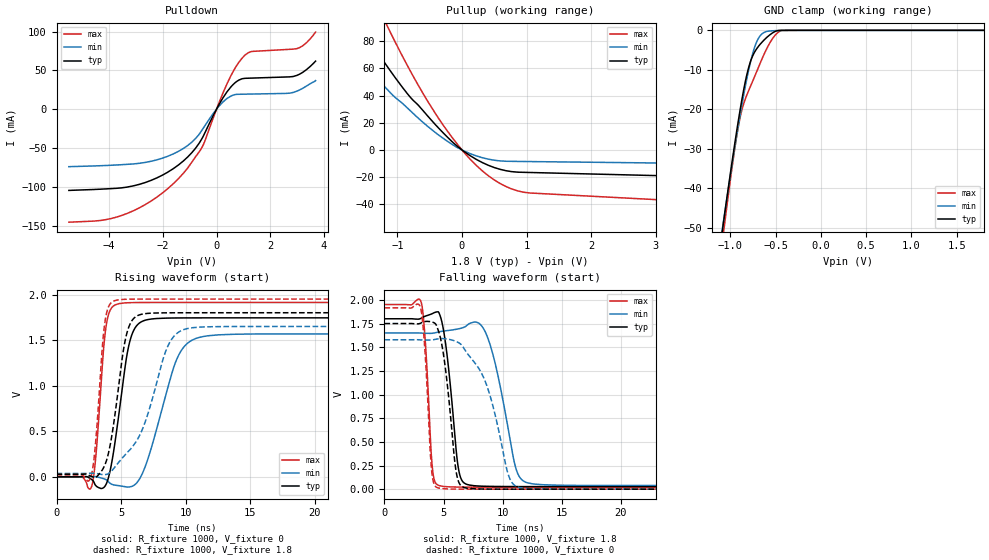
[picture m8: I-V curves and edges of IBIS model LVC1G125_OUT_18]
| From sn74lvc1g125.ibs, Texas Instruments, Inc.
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[Model]   LVC1G125_OUT_18
Model_type  3-state
Enable   Active-Low
Vref =   0
Rref =   1000
Cref =   30p
Vmeas =   0.9
| variable   typ   min   max
C_comp   6.12pF   5.33pF   6.95pF
| C_pullup   9.53pF   6.44pF   11.63pF
| C_pulldown   10.50pF   6.57pF   15.98pF
| C_tri-state   6.12pF   5.33pF   6.95pF
[Temperature Range]   40   100   -40
| Ambient temperature   25   85   -40
[Voltage range]   1.8   1.65   1.95
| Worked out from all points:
|   slope of the pulldown table from 0 to 0.27 V, typ, clamps not added: 16.6 ohm
|   slope of the pullup table from 0 to 0.27 V, typ, clamps not added: 33.1 ohm
|   GND clamp passes 1 mA (typ) near -0.56 V on its own axis
|   rising waveform, R_fixture 1000, V_fixture 0: 20-80 % time 1.04ns typ, 1.88ns min, 595ps max; typ from 0 V to 1.74 V
|   falling waveform, R_fixture 1000, V_fixture 1.8: 20-80 % time 823ps typ, 1.49ns min, 490ps max; typ from 1.8 V to 0.027 V
|   rising waveform, R_fixture 1000, V_fixture 1.8: 20-80 % time 1.05ns typ, 2.3ns min, 592ps max; typ from 0.027 V to 1.8 V
|   falling waveform, R_fixture 1000, V_fixture 0: 20-80 % time 879ps typ, 2.12ns min, 495ps max; typ from 1.75 V to 0 V
[GND Clamp]
| LVC1G125_OUT_18
|   Voltage   I(typ)   I(min)   I(max)
-5.5V     -919.3mA   -858.8mA   -997.3mA
-1.105V   -53.41mA   -52.67mA   -56.49mA
-1.075V   -48.37mA   -48mA      -50.98mA
-1.05V    -44.23mA   -44.16mA   -46.47mA
-915mV    -23.21mA   -24.47mA   -24.73mA
-875mV    -17.74mA   -19.13mA   -20.32mA
-825mV    -11.87mA   -12.99mA   -16.74mA
-735mV    -5.597mA   -4.44mA    -11.83mA
-640mV    -2.73mA    -696.7uA   -6.659mA
-525mV    -513.6uA   -107.6uA   -1.782mA
-425mV    -5.151uA   -35.58uA   -16.05uA
1.8V      20.22pA    26.25nA    581.3pA
[Pulldown]
| LVC1G125_OUT_18
|   Voltage   I(typ)   I(min)   I(max)
-5.5V     -104.6mA   -74.02mA   -145.5mA
-3.745V   -101.9mA   -71.89mA   -139.2mA
-2.02V    -85.05mA   -63.13mA   -108.1mA
-1.225V   -66.4mA    -50.37mA   -82.15mA
-555mV    -38.62mA   -27.71mA   -50.1mA
230mV     14.07mA    9.007mA    20.07mA
615mV     31.62mA    18.09mA    48.22mA
950mV     39.21mA    19.28mA    65.67mA
1.28V     40.01mA    19.49mA    74.11mA
2.855V    42.09mA    21.56mA    77.35mA
3.215V    47.55mA    26.98mA    81.77mA
3.69V     61.89mA    36.79mA    99.31mA
[Pullup]
| LVC1G125_OUT_18
|   Voltage   I(typ)   I(min)   I(max)
-4.015V   298.3mA    224.3mA    426mA
-1.925V   118mA      87.93mA    171.7mA
-1.64V    95.97mA    70.95mA    140.5mA
-1.5V     85.56mA    62.95mA    125.7mA
-1.2V     64.26mA    46.68mA    95.24mA
-1.105V   57.85mA    41.84mA    86.02mA
-755mV    36.44mA    26.81mA    54.15mA
-410mV    18.54mA    12.75mA    26.68mA
35mV      -1.224mA   -792.3uA   -1.956mA
500mV     -12.89mA   -7.509mA   -21.98mA
955mV     -16.39mA   -8.433mA   -31mA
11V       -28.13mA   -13.8mA    -56.37mA
[Ramp]
| LVC1G125_OUT_18
| variable   typ   min   max
dV/dt_r   1.12/1.12E-09   1.01/2.01E-09   1.23/6.41E-10
dV/dt_f   1.11/8.75E-10   1.04/1.65E-09   1.19/5.13E-10
R_load = 1000
[Rising Waveform]
| LVC1G125_OUT_18
R_fixture =   1000
C_fixture =   0
L_fixture =   0
V_fixture =   0
V_fixture_min = 0
V_fixture_max = 0
|   Time   V(typ)   V(min)   V(max)
0s        112.7pV    7.663nV    3.037nV
2.715ns   -28.83mV   3.214mV    -107.5mV
3.05ns    -97.67mV   1.335mV    235.3mV
3.825ns   -85.53mV   -30.44mV   1.638V
4.755ns   607.9mV    -95.54mV   1.897V
5.515ns   1.383V     -112.1mV   1.909V
6.19ns    1.655V     -69.7mV    1.912V
9.33ns    1.743V     1.296V     1.913V
11.08ns   1.744V     1.53V      1.913V
50ns      1.744V     1.569V     1.913V
[Falling Waveform]
| LVC1G125_OUT_18
R_fixture =   1000
C_fixture =   0
L_fixture =   0
V_fixture =   1.8
V_fixture_min = 1.65
V_fixture_max = 1.95
|   Time   V(typ)   V(min)   V(max)
0s        1.8V       1.65V      1.95V
3.115ns   1.807V     1.649V     1.973V
4.045ns   1.854V     1.647V     240.1mV
4.62ns    1.862V     1.662V     38.59mV
6.25ns    227.1mV    1.693V     22.26mV
7ns       49.44mV    1.733V     21.55mV
8.73ns    30.06mV    1.604V     21.16mV
11.08ns   27.49mV    237.2mV    21.11mV
12.08ns   27.23mV    67.78mV    21.1mV
50ns      26.97mV    37.14mV    21.08mV
[Rising Waveform]
| LVC1G125_OUT_18
R_fixture =   1000
C_fixture =   0
L_fixture =   0
V_fixture =   1.8
V_fixture_min = 1.65
V_fixture_max = 1.95
|   Time   V(typ)   V(min)   V(max)
0s        26.95mV    37.1mV     21.07mV
2.645ns   7.905mV    39.96mV    -7.84mV
3ns       -9.678mV   38.71mV    333mV
3.74ns    129.2mV    24.53mV    1.688V
4.58ns    738.9mV    118mV      1.935V
5.27ns    1.462V     234.5mV    1.947V
5.88ns    1.721V     330.2mV    1.949V
8.62ns    1.799V     1.433V     1.95V
10.1ns    1.8V       1.625V     1.95V
50ns      1.8V       1.65V      1.95V
[Falling Waveform]
| LVC1G125_OUT_18
R_fixture =   1000
C_fixture =   0
L_fixture =   0
V_fixture =   0
V_fixture_min = 0
V_fixture_max = 0
|   Time   V(typ)   V(min)   V(max)
0s        1.749V     1.578V     1.916V
3.055ns   1.753V     1.577V     1.919V
3.415ns   1.771V     1.575V     1.486V
3.985ns   1.767V     1.576V     211.1mV
4.515ns   1.692V     1.588V     14.48mV
6.075ns   179.8mV    1.56V      791.3uV
6.775ns   15.74mV    1.478V     314.7uV
8.535ns   1.298mV    1.137V     64.01uV
11.4ns    156.8uV    17.69mV    31.18uV
50ns      18.81uV    35.75uV    11.25uV
